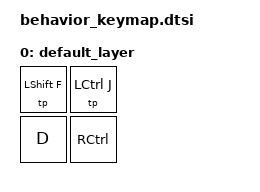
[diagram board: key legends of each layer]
#include <dt-bindings/zmk/keys.h>
#include <behaviors.dtsi>
#include <dt-bindings/zmk/kscan_mock.h>

/ {
	behaviors {
		tpnm: behavior_tap_preferred_no_mods {
			compatible = "zmk,behavior-hold-tap";
			label = "MOD_TAP";
			#binding-cells = <2>;
			flavor = "tap-preferred-no-mods";
			tapping-term-ms = <300>;
			quick-tap-ms = <200>;
			bindings = <&kp>, <&kp>;
		};
	};

	keymap {
		compatible = "zmk,keymap";
		label ="Default keymap";

		default_layer {
			bindings = <
				&tp LEFT_SHIFT F &tp LEFT_CONTROL J
				&kp D &kp RIGHT_CONTROL>;
		};
	};
};
